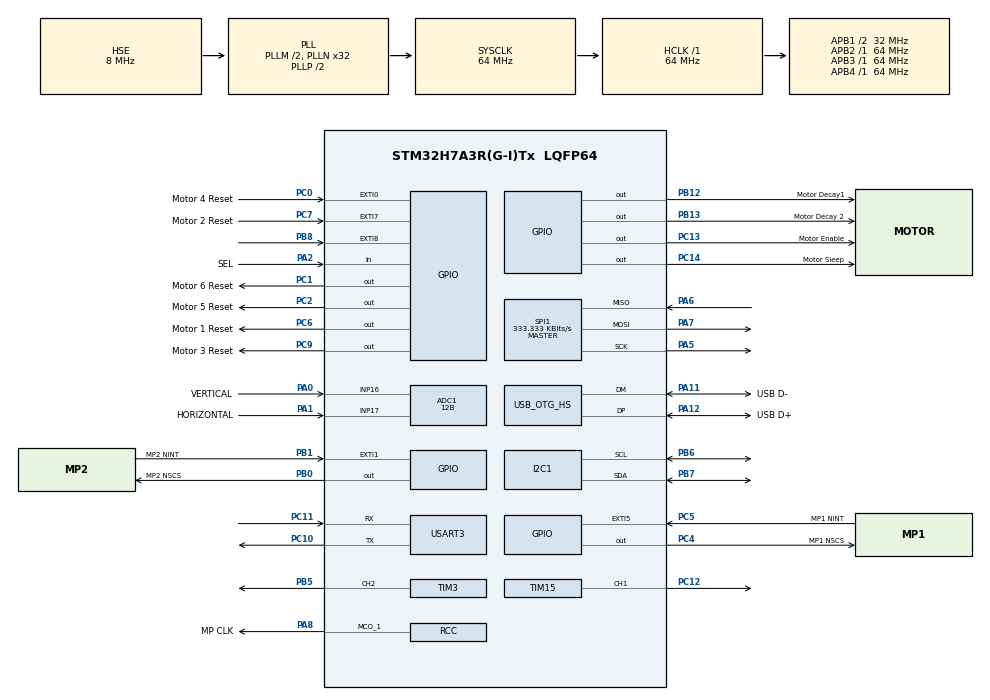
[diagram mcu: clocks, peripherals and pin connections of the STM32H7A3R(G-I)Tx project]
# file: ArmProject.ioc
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ADC1.Channel-0\#ChannelRegularConversion=ADC_CHANNEL_17
ADC1.ContinuousConvMode=DISABLE
ADC1.ConversionDataManagement=ADC_CONVERSIONDATA_DR
ADC1.DiscontinuousConvMode=DISABLE
ADC1.EOCSelection=ADC_EOC_SINGLE_CONV
ADC1.ExternalTrigConv=ADC_SOFTWARE_START
ADC1.NbrOfConversion=1
ADC1.NbrOfConversionFlag=1
ADC1.OffsetNumber-0\#ChannelRegularConversion=ADC_OFFSET_NONE
ADC1.OffsetSignedSaturation-0\#ChannelRegularConversion=DISABLE
ADC1.Rank-0\#ChannelRegularConversion=1
ADC1.Resolution=ADC_RESOLUTION_12B
ADC1.SamplingTime-0\#ChannelRegularConversion=ADC_SAMPLETIME_1CYCLE_5
ADC1.master=1
CORTEX_M7.default_mode_Activation=1
I2C1.Timing=0x00707CBB
Mcu.Family=STM32H7
Mcu.Name=STM32H7A3R(G-I)Tx
Mcu.Package=LQFP64
NVIC.ADC_IRQn=true\:0\:0\:false\:false\:true\:true\:true\:true
NVIC.EXTI9_5_IRQn=true\:0\:0\:false\:false\:true\:true\:true\:true
NVIC.PriorityGroup=NVIC_PRIORITYGROUP_4
PA0.GPIO_Label=VERTICAL
PA0.Mode=IN16-Single-Ended
PA0.Signal=ADC1_INP16
PA1.GPIO_Label=HORIZONTAL
PA1.Mode=IN17-Single-Ended
PA1.Signal=ADC1_INP17
PA11.GPIO_Label=USB D-
PA11.Mode=Device_Only_FS
PA11.Signal=USB_OTG_HS_DM
PA12.GPIO_Label=USB D+
PA12.Mode=Device_Only_FS
PA12.Signal=USB_OTG_HS_DP
PA13.Signal=DEBUG_JTMS-SWDIO
PA14.Signal=DEBUG_JTCK-SWCLK
PA2.GPIO_Label=SEL
PA2.Signal=GPIO_Input
PA5.Mode=Full_Duplex_Master
PA5.Signal=SPI1_SCK
PA6.Mode=Full_Duplex_Master
PA6.Signal=SPI1_MISO
PA7.Mode=Full_Duplex_Master
PA7.Signal=SPI1_MOSI
PA8.GPIO_Label=MP CLK
PA8.Mode=Clock-out-1
PA8.Signal=RCC_MCO_1
PB0.GPIO_Label=MP2 NSCS
PB0.PinState=GPIO_PIN_SET
PB0.Signal=GPIO_Output
PB1.GPIO_Label=MP2 NINT
PB1.Signal=GPXTI1
PB12.GPIO_Label=Motor Decay1
PB12.Signal=GPIO_Output
PB13.GPIO_Label=Motor Decay 2
PB13.Signal=GPIO_Output
PB3.Signal=DEBUG_JTDO-SWO
PB5.Signal=S_TIM3_CH2
PB6.Mode=I2C
PB6.Signal=I2C1_SCL
PB7.Mode=I2C
PB7.Signal=I2C1_SDA
PB8.Signal=GPXTI8
PC0.GPIO_Label=Motor 4 Reset
PC0.Signal=GPXTI0
PC1.GPIO_Label=Motor 6 Reset
PC1.Signal=GPIO_Output
PC10.Mode=Asynchronous
PC10.Signal=USART3_TX
PC11.Mode=Asynchronous
PC11.Signal=USART3_RX
PC12.Signal=S_TIM15_CH1
PC13.GPIO_Label=Motor Enable
PC13.Signal=GPIO_Output
PC14-OSC32_IN.GPIO_Label=Motor Sleep
PC14-OSC32_IN.Signal=GPIO_Output
PC2.GPIO_Label=Motor 5 Reset
PC2.Signal=GPIO_Output
PC4.GPIO_Label=MP1 NSCS
PC4.PinState=GPIO_PIN_SET
PC4.Signal=GPIO_Output
PC5.GPIO_Label=MP1 NINT
PC5.Signal=GPXTI5
PC6.GPIO_Label=Motor 1 Reset
PC6.Signal=GPIO_Output
PC7.GPIO_Label=Motor 2 Reset
PC7.Signal=GPXTI7
PC9.GPIO_Label=Motor 3 Reset
PC9.Signal=GPIO_Output
PH0-OSC_IN.Mode=HSE-External-Oscillator
PH0-OSC_IN.Signal=RCC_OSC_IN
PH1-OSC_OUT.Mode=HSE-External-Oscillator
PH1-OSC_OUT.Signal=RCC_OSC_OUT
ProjectManager.HeapSize=0x200
ProjectManager.StackSize=0x400
ProjectManager.TargetToolchain=CMake
RCC.ADCFreq_Value=43555664.0625
RCC.APB1Freq_Value=32000000
RCC.APB2Freq_Value=64000000
RCC.APB3Freq_Value=64000000
RCC.APB4Freq_Value=64000000
RCC.CDPPRE1=RCC_APB1_DIV2
RCC.CortexFreq_Value=64000000
RCC.DIVM1=2
RCC.DIVM2=2
RCC.DIVN1=32
RCC.DIVN2=32
RCC.DIVP2=3
RCC.DIVQ1=3
RCC.HCLKFreq_Value=64000000
RCC.HSE_VALUE=8000000
RCC.PLL2FRACN=5462
RCC.PLL3FRACN=0
RCC.PLLFRACN=0
RCC.RCC_MCO1Source=RCC_MCO1SOURCE_HSE
RCC.SYSCLKFreq_VALUE=64000000
RCC.SYSCLKSource=RCC_SYSCLKSOURCE_PLLCLK
RCC.USBFreq_Value=42666666.666666664
SH.S_TIM15_CH1.0=TIM15_CH1,PWM Generation1 CH1
SH.S_TIM3_CH2.0=TIM3_CH2,PWM Generation2 CH2
SPI1.BaudRatePrescaler=SPI_BAUDRATEPRESCALER_128
SPI1.CLKPhase=SPI_PHASE_2EDGE
SPI1.CLKPolarity=SPI_POLARITY_HIGH
SPI1.CalculateBaudRate=333.333 KBits/s
SPI1.DataSize=SPI_DATASIZE_8BIT
SPI1.Direction=SPI_DIRECTION_2LINES
SPI1.MasterKeepIOState=SPI_MASTER_KEEP_IO_STATE_ENABLE
SPI1.Mode=SPI_MODE_MASTER
SPI1.VirtualType=VM_MASTER
TIM15.Channel-PWM\ Generation1\ CH1=TIM_CHANNEL_1
TIM15.Period=19999
TIM15.Prescaler=63
TIM15.Pulse-PWM\ Generation1\ CH1=0
TIM3.Channel-PWM\ Generation2\ CH2=TIM_CHANNEL_2
TIM3.Period=19999
TIM3.Prescaler=63
TIM8.Period=9999
TIM8.Prescaler=6399
TIM8.TIM_MasterOutputTrigger=TIM_TRGO_UPDATE
USART3.VirtualMode-Asynchronous=VM_ASYNC
USB_OTG_HS.VirtualMode=Device_Only_FS
VP_MEMORYMAP_VS_MEMORYMAP.Mode=CurAppReg
VP_TIM3_VS_ClockSourceINT.Mode=Internal
VP_TIM8_VS_ClockSourceINT.Mode=Internal
board=custom

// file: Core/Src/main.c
/* USER CODE BEGIN Header */
/**
  ******************************************************************************
  * @file           : main.c
  * @brief          : Main program body
  ******************************************************************************
  * @attention
  *
  * Copyright (c) 2026 STMicroelectronics.
  * All rights reserved.
  *
  * This software is licensed under terms that can be found in the LICENSE file
  * in the root directory of this software component.
  * If no LICENSE file comes with this software, it is provided AS-IS.
  *
  ******************************************************************************
  */
/* USER CODE END Header */
#include "main.h"

/* USER CODE BEGIN Includes */
#include "TMC429.h"
#include "TMC429_Register.h"
#include "stepper_driver.h"
#include "driver_tcs34725.h"
#include "color_sensor.h"
#include "servo.h"
#include "joystick.h"
#include "motion.h"
#include <string.h>
#include <stdio.h>
#include "fsm.h"
#include "maneuvers.h"
/* USER CODE END Includes */

/* USER CODE BEGIN PTD */
typedef struct {
  int test1;
  int test2;
  int test3;
} testtype;

testtype testvar;

/* USER CODE END PTD */

/* USER CODE BEGIN PD */
#define MICROSTEPS 32 //number of microsteps per step. this is set by jumpers on the board.

/* USER CODE END PD */

ADC_HandleTypeDef hadc1;

I2C_HandleTypeDef hi2c1;

SPI_HandleTypeDef hspi1;

TIM_HandleTypeDef htim3;
TIM_HandleTypeDef htim8;
TIM_HandleTypeDef htim15;

UART_HandleTypeDef huart3;

PCD_HandleTypeDef hpcd_USB_OTG_HS;

/* USER CODE BEGIN PV */
static MotionIC_Config_t motionICs[2] =
{
    { &hspi1, MP1_NSCS_GPIO_Port, MP1_NSCS_Pin },
    { &hspi1, MP2_NSCS_GPIO_Port, MP2_NSCS_Pin }
};

//Set-up stepper driver config. This is used by the stepper driver library to know which pins to use for each function
static StepperDriverConfig_t stepperConfig =
{
    .sleepPort = Motor_Sleep_GPIO_Port,
    .sleepPin  = Motor_Sleep_Pin,

    .enablePort = Motor_Enable_GPIO_Port,
    .enablePin  = Motor_Enable_Pin,

    .decay1Port = Motor_Decay1_GPIO_Port,
    .decay1Pin  = Motor_Decay1_Pin,

    .decay2Port = Motor_Decay_2_GPIO_Port,
    .decay2Pin  = Motor_Decay_2_Pin,

    .drivers =
    {
        { Motor_1_Reset_GPIO_Port, Motor_1_Reset_Pin },
        { Motor_2_Reset_GPIO_Port, Motor_2_Reset_Pin },
        { Motor_3_Reset_GPIO_Port, Motor_3_Reset_Pin },
        { Motor_4_Reset_GPIO_Port, Motor_4_Reset_Pin }
    }
};

//Set-up configuration for each motor. This is used by the motion library to know which TMC429 chip and which axis of that chip each motor is connected to, as well as the conversion factor for that motor which is used to convert between radians and steps.
motor_config_t motorConfigs[4] =
{
    { .motionIC = MOTION_IC_1, .MotionIC_motorNum = 0 },
    { .motionIC = MOTION_IC_1, .MotionIC_motorNum = 1 },
    { .motionIC = MOTION_IC_1, .MotionIC_motorNum = 2 },
    { .motionIC = MOTION_IC_2, .MotionIC_motorNum = 0 }
};

tcs34725_handle_t sensor_handle = {
    .iic_init    = my_i2c_init,
    .iic_deinit  = my_i2c_deinit,
    .iic_read    = my_i2c_read,
    .iic_write   = my_i2c_write,
    .delay_ms    = my_delay_ms,
    .debug_print = my_debug_print,
};

/* USER CODE END PV */

void SystemClock_Config(void);
static void MPU_Config(void);
static void MX_GPIO_Init(void);
static void MX_SPI1_Init(void);
static void MX_USB_OTG_HS_PCD_Init(void);
static void MX_I2C1_Init(void);
static void MX_TIM3_Init(void);
static void MX_TIM15_Init(void);
static void MX_USART3_UART_Init(void);
static void MX_ADC1_Init(void);
static void MX_TIM8_Init(void);

int main(void)
{

  /* MPU Configuration--------------------------------------------------------*/
  MPU_Config();

  /* MCU Configuration--------------------------------------------------------*/

  /* Reset of all peripherals, Initializes the Flash interface and the Systick. */
  HAL_Init();

  /* Configure the system clock */
  SystemClock_Config();

  /* Initialize all configured peripherals */
  MX_GPIO_Init();
  MX_SPI1_Init();
  MX_USB_OTG_HS_PCD_Init();
  MX_I2C1_Init();
  MX_TIM3_Init();
  MX_TIM15_Init();
  MX_USART3_UART_Init();
  MX_ADC1_Init();
  MX_TIM8_Init();
  /* USER CODE BEGIN 2 */
  Joystick_Init();
  while (!Joystick_ReadButton()) {
    __NOP();
  }

  //Joystick_Init();
  FSM_Init();
  //Init the TMC429 chips. Initializer function sets these in setp/dir mode, which is what we want.
  TMC429_SetMotionICs(motionICs);

  SelectMotionIC(MOTION_IC_1);
  Init429();

  SelectMotionIC(MOTION_IC_2);
  Init429();

  //Limit max acceleration on motor 1
  SelectMotionIC(motorConfigs[0].motionIC);
  SetAMax(motorConfigs[0].MotionIC_motorNum, 50);

  //Init stepper drivers. Sets sleep and enable pins to the proper levels and resets all drivers.
  StepperDriver_Init(&stepperConfig);

  StepperDriver_ResetAll();
  StepperDriver_SetDecay(GPIO_PIN_RESET, GPIO_PIN_RESET);

  StepperDriver_Wake();
  StepperDriver_Enable();

  /* Compute motor conversion parameters based on microstepping, gearbox ratio and steps per revolution */
  //store in motor configuration struct so we can use it later for motion planning
  compute_motor_params(Motor1, MICROSTEPS, 5, 200);
  compute_motor_params(Motor2, MICROSTEPS, 10, 200);
  compute_motor_params(Motor3, MICROSTEPS, 5, 200);
  compute_motor_params(Motor4, MICROSTEPS, 1, 200);

  //Set max accelerations
  set_max_accel(Motor1, 1); //Set max acceleration for motor 1
  set_max_accel(Motor2, 1); //Set max acceleration for motor 2
  set_max_accel(Motor3, 1); //Set max acceleration for motor 3
  set_max_accel(Motor4, 1); //Set max acceleration for motor 4

  char rx[5]; //Init spi rx buff
  int char_count; //Variable to store number of characters in uart send buff
  double pos; //Variable to store current position of motor for printing over uart
  char sendbuff[100]; //Init uart send buff
  memset(sendbuff, 0, sizeof(sendbuff)); //Clear uart send buff
  uint8_t readReg[4] = {
        0x00,
        0x00,
        0x00,
        0x00
    };

  tcs34725_init(&sensor_handle);
  COLOR_SENSOR_Init(&sensor_handle);
  uint32_t adc;

  Servo_Init();
  Servo_Open();

  double m2pos = 0;
  //Servo_Init();
  //Servo_Open();
  uint16_t servo_pulse = 0;
  HAL_Delay(2000);
  while (!Joystick_ReadButton()) {
    __NOP();
  }
  /* USER CODE END 2 */

  /* Infinite loop */
  /* USER CODE BEGIN WHILE */
  while (1)
  {

    //servo test
    //HAL_Delay(1000);
    //Servo_Close();

    //HAL_GPIO_WritePin(MP1_NSCS_GPIO_Port, MP1_NSCS_Pin, GPIO_PIN_RESET); //Set CS line low to select chip
    //HAL_SPI_TransmitReceive(&hspi1, (uint8_t *)readReg, (uint8_t *)rx, 4, HAL_MAX_DELAY); //send/recieve data
    //sprintf(sendbuff, "TMC429 Response:%b%b%br\n", rx[1], rx[2], rx[3]); //Format received data into string
    //HAL_UART_Transmit(&huart3, (uint8_t *)sendbuff, strlen(sendbuff), HAL_MAX_DELAY);
    //HAL_GPIO_WritePin(MP1_NSCS_GPIO_Port, MP1_NSCS_Pin, GPIO_PIN_SET); //Set CS line high to deselect chip

    //Move Motor 1 90 degrees as a test
    //SelectMotionIC(motorConfigs[0].motionIC); //Select the correct TMC429 chip
    //uint32_t steps = 10000;
    //Write429Datagram(TMC429_IDX_XTARGET(motorConfigs[0].MotionIC_motorNum), (steps >> 16) & 0xFF, (steps >> 8) & 0xFF, steps & 0xFF); //Write the target position to the TMC429
    //SelectMotionIC(MOTION_IC_1);
    //zero_motors(motorConfigs, 4); //Set current position of all motors to be the zero position
    //execute_trajectory(motorConfigs, &test_trajectory1);
    //HAL_Delay(1000);
    //move_to_pos(Motor2, M_PI / 4); //Move to 90 degrees
    //m2pos = get_current_pos(Motor2);
    //move_to_pos(Motor3, M_PI / 4); //Move to 90 degrees
    //HAL_Delay(3000);
    //move_to_pos(Motor2, -M_PI / 4); //Move to 90 degrees
    //move_to_pos(Motor3, -M_PI / 4); //Move to 90 degrees
    //HAL_Delay(3000);

    //move_to_pos(&motorConfigs[0], M_PI / 2); //Move to 90 degrees
    //confirm move command was sent and print current position over uart
    /*
    char_count = sprintf(sendbuff, "Sent motor 1 command - 90 degrees\r\n");
    HAL_UART_Transmit(&huart3, (uint8_t *)sendbuff, char_count, HAL_MAX_DELAY);
    pos = get_current_pos(Motor1);
    char_count = sprintf(sendbuff, "Motor 1 position: %f\r\n", pos);
    HAL_UART_Transmit(&huart3, (uint8_t *)sendbuff, char_count, HAL_MAX_DELAY);
    HAL_Delay(2000);
    move_to_pos(&motorConfigs[0], 0.0);
    char_count = sprintf(sendbuff, "Sent motor 1 command - 0 degrees\r\n");
    HAL_UART_Transmit(&huart3, (uint8_t *)sendbuff, char_count, HAL_MAX_DELAY);
    pos = get_current_pos(&motorConfigs[0]);
    char_count = sprintf(sendbuff, "Motor 1 position: %f\r\n", pos);
    HAL_UART_Transmit(&huart3, (uint8_t *)sendbuff, char_count, HAL_MAX_DELAY);
    HAL_Delay(2000);
    */

    //HAL_Delay(500);
    /* Joystick_Read();
    char dbg[64];
    int len = sprintf(dbg, "X: %u  Y: %u  BTN: %d\r\n ISR: %081X\r\n", Joystick_ReadX(), Joystick_ReadY(), Joystick_ReadButton(), ADC1->ISR);
    HAL_UART_Transmit(&huart3, (uint8_t *)dbg, len, HAL_MAX_DELAY); */

    /* Joystick_Read();

    int len = sprintf(sendbuff,
                      "X: %u  Y: %u  BTN: %d\r\n",
                      Joystick_ReadX(),
                      Joystick_ReadY(),
                      Joystick_ReadButton());

    HAL_UART_Transmit(&huart3, (uint8_t *)sendbuff, len, HAL_MAX_DELAY);

    HAL_Delay(100); */

    //char_count = sprintf(sendbuff, "Sent motor 1 command - 90 degrees\r\n");
    //HAL_UART_Transmit(&huart3, (uint8_t *)sendbuff, char_count, HAL_MAX_DELAY);
    //pos = get_current_pos(&motorConfigs[0]);
    //char_count = sprintf(sendbuff, "Motor 1 position: %f\r\n", pos);
    //HAL_UART_Transmit(&huart3, (uint8_t *)sendbuff, char_count, HAL_MAX_DELAY);
    //HAL_Delay(2000);
    //move_to_pos(&motorConfigs[0], 0.0);
    //char_count = sprintf(sendbuff, "Sent motor 1 command - 0 degrees\r\n");
    //HAL_UART_Transmit(&huart3, (uint8_t *)sendbuff, char_count, HAL_MAX_DELAY);
    //pos = get_current_pos(&motorConfigs[0]);
    //char_count = sprintf(sendbuff, "Motor 1 position: %f\r\n", pos);
    //HAL_UART_Transmit(&huart3, (uint8_t *)sendbuff, char_count, HAL_MAX_DELAY);
    //HAL_Delay(2000);
    COLOR_SENSOR_Read(&sensor_handle);
    FSM_Update();

    /* USER CODE END WHILE */

    /* USER CODE BEGIN 3 */
  //FSM_Update();
  }
  /* USER CODE END 3 */
}

void SystemClock_Config(void)
{
  RCC_OscInitTypeDef RCC_OscInitStruct = {0};
  RCC_ClkInitTypeDef RCC_ClkInitStruct = {0};

  /*AXI clock gating */
  RCC->CKGAENR = 0xE003FFFF;

  /** Supply configuration update enable
  */
  HAL_PWREx_ConfigSupply(PWR_LDO_SUPPLY);

  /** Configure the main internal regulator output voltage
  */
  __HAL_PWR_VOLTAGESCALING_CONFIG(PWR_REGULATOR_VOLTAGE_SCALE3);

  while(!__HAL_PWR_GET_FLAG(PWR_FLAG_VOSRDY)) {}

  /** Initializes the RCC Oscillators according to the specified parameters
  * in the RCC_OscInitTypeDef structure.
  */
  RCC_OscInitStruct.OscillatorType = RCC_OSCILLATORTYPE_HSE;
  RCC_OscInitStruct.HSEState = RCC_HSE_ON;
  RCC_OscInitStruct.PLL.PLLState = RCC_PLL_ON;
  RCC_OscInitStruct.PLL.PLLSource = RCC_PLLSOURCE_HSE;
  RCC_OscInitStruct.PLL.PLLM = 2;
  RCC_OscInitStruct.PLL.PLLN = 32;
  RCC_OscInitStruct.PLL.PLLP = 2;
  RCC_OscInitStruct.PLL.PLLQ = 3;
  RCC_OscInitStruct.PLL.PLLR = 2;
  RCC_OscInitStruct.PLL.PLLRGE = RCC_PLL1VCIRANGE_2;
  RCC_OscInitStruct.PLL.PLLVCOSEL = RCC_PLL1VCOWIDE;
  RCC_OscInitStruct.PLL.PLLFRACN = 0;
  if (HAL_RCC_OscConfig(&RCC_OscInitStruct) != HAL_OK)
  {
    Error_Handler();
  }

  /** Initializes the CPU, AHB and APB buses clocks
  */
  RCC_ClkInitStruct.ClockType = RCC_CLOCKTYPE_HCLK|RCC_CLOCKTYPE_SYSCLK
                              |RCC_CLOCKTYPE_PCLK1|RCC_CLOCKTYPE_PCLK2
                              |RCC_CLOCKTYPE_D3PCLK1|RCC_CLOCKTYPE_D1PCLK1;
  RCC_ClkInitStruct.SYSCLKSource = RCC_SYSCLKSOURCE_PLLCLK;
  RCC_ClkInitStruct.SYSCLKDivider = RCC_SYSCLK_DIV1;
  RCC_ClkInitStruct.AHBCLKDivider = RCC_HCLK_DIV1;
  RCC_ClkInitStruct.APB3CLKDivider = RCC_APB3_DIV1;
  RCC_ClkInitStruct.APB1CLKDivider = RCC_APB1_DIV2;
  RCC_ClkInitStruct.APB2CLKDivider = RCC_APB2_DIV1;
  RCC_ClkInitStruct.APB4CLKDivider = RCC_APB4_DIV1;

  if (HAL_RCC_ClockConfig(&RCC_ClkInitStruct, FLASH_LATENCY_2) != HAL_OK)
  {
    Error_Handler();
  }
  HAL_RCC_MCOConfig(RCC_MCO1, RCC_MCO1SOURCE_HSE, RCC_MCODIV_1);
}

static void MX_ADC1_Init(void)
{

  ADC_MultiModeTypeDef multimode = {0};
  ADC_ChannelConfTypeDef sConfig = {0};

  /** Common config
  */
  hadc1.Instance = ADC1;
  hadc1.Init.ClockPrescaler = ADC_CLOCK_ASYNC_DIV1;
  hadc1.Init.Resolution = ADC_RESOLUTION_12B;
  hadc1.Init.ScanConvMode = ADC_SCAN_DISABLE;
  hadc1.Init.EOCSelection = ADC_EOC_SINGLE_CONV;
  hadc1.Init.LowPowerAutoWait = DISABLE;
  hadc1.Init.ContinuousConvMode = DISABLE;
  hadc1.Init.NbrOfConversion = 1;
  hadc1.Init.DiscontinuousConvMode = DISABLE;
  hadc1.Init.ExternalTrigConv = ADC_SOFTWARE_START;
  hadc1.Init.ExternalTrigConvEdge = ADC_EXTERNALTRIGCONVEDGE_NONE;
  hadc1.Init.ConversionDataManagement = ADC_CONVERSIONDATA_DR;
  hadc1.Init.Overrun = ADC_OVR_DATA_PRESERVED;
  hadc1.Init.LeftBitShift = ADC_LEFTBITSHIFT_NONE;
  hadc1.Init.OversamplingMode = DISABLE;
  if (HAL_ADC_Init(&hadc1) != HAL_OK)
  {
    Error_Handler();
  }

  /** Configure the ADC multi-mode
  */
  multimode.Mode = ADC_MODE_INDEPENDENT;
  if (HAL_ADCEx_MultiModeConfigChannel(&hadc1, &multimode) != HAL_OK)
  {
    Error_Handler();
  }

  /** Configure Regular Channel
  */
  sConfig.Channel = ADC_CHANNEL_17;
  sConfig.Rank = ADC_REGULAR_RANK_1;
  sConfig.SamplingTime = ADC_SAMPLETIME_1CYCLE_5;
  sConfig.SingleDiff = ADC_SINGLE_ENDED;
  sConfig.OffsetNumber = ADC_OFFSET_NONE;
  sConfig.Offset = 0;
  sConfig.OffsetSignedSaturation = DISABLE;
  if (HAL_ADC_ConfigChannel(&hadc1, &sConfig) != HAL_OK)
  {
    Error_Handler();
  }

}

static void MX_I2C1_Init(void)
{

  hi2c1.Instance = I2C1;
  hi2c1.Init.Timing = 0x00707CBB;
  hi2c1.Init.OwnAddress1 = 0;
  hi2c1.Init.AddressingMode = I2C_ADDRESSINGMODE_7BIT;
  hi2c1.Init.DualAddressMode = I2C_DUALADDRESS_DISABLE;
  hi2c1.Init.OwnAddress2 = 0;
  hi2c1.Init.OwnAddress2Masks = I2C_OA2_NOMASK;
  hi2c1.Init.GeneralCallMode = I2C_GENERALCALL_DISABLE;
  hi2c1.Init.NoStretchMode = I2C_NOSTRETCH_DISABLE;
  if (HAL_I2C_Init(&hi2c1) != HAL_OK)
  {
    Error_Handler();
  }

  /** Configure Analogue filter
  */
  if (HAL_I2CEx_ConfigAnalogFilter(&hi2c1, I2C_ANALOGFILTER_ENABLE) != HAL_OK)
  {
    Error_Handler();
  }

  /** Configure Digital filter
  */
  if (HAL_I2CEx_ConfigDigitalFilter(&hi2c1, 0) != HAL_OK)
  {
    Error_Handler();
  }

}

static void MX_SPI1_Init(void)
{

  /* SPI1 parameter configuration*/
  hspi1.Instance = SPI1;
  hspi1.Init.Mode = SPI_MODE_MASTER;
  hspi1.Init.Direction = SPI_DIRECTION_2LINES;
  hspi1.Init.DataSize = SPI_DATASIZE_8BIT;
  hspi1.Init.CLKPolarity = SPI_POLARITY_HIGH;
  hspi1.Init.CLKPhase = SPI_PHASE_2EDGE;
  hspi1.Init.NSS = SPI_NSS_SOFT;
  hspi1.Init.BaudRatePrescaler = SPI_BAUDRATEPRESCALER_128;
  hspi1.Init.FirstBit = SPI_FIRSTBIT_MSB;
  hspi1.Init.TIMode = SPI_TIMODE_DISABLE;
  hspi1.Init.CRCCalculation = SPI_CRCCALCULATION_DISABLE;
  hspi1.Init.CRCPolynomial = 0x0;
  hspi1.Init.NSSPMode = SPI_NSS_PULSE_ENABLE;
  hspi1.Init.NSSPolarity = SPI_NSS_POLARITY_LOW;
  hspi1.Init.FifoThreshold = SPI_FIFO_THRESHOLD_01DATA;
  hspi1.Init.TxCRCInitializationPattern = SPI_CRC_INITIALIZATION_ALL_ZERO_PATTERN;
  hspi1.Init.RxCRCInitializationPattern = SPI_CRC_INITIALIZATION_ALL_ZERO_PATTERN;
  hspi1.Init.MasterSSIdleness = SPI_MASTER_SS_IDLENESS_00CYCLE;
  hspi1.Init.MasterInterDataIdleness = SPI_MASTER_INTERDATA_IDLENESS_00CYCLE;
  hspi1.Init.MasterReceiverAutoSusp = SPI_MASTER_RX_AUTOSUSP_DISABLE;
  hspi1.Init.MasterKeepIOState = SPI_MASTER_KEEP_IO_STATE_ENABLE;
  hspi1.Init.IOSwap = SPI_IO_SWAP_DISABLE;
  if (HAL_SPI_Init(&hspi1) != HAL_OK)
  {
    Error_Handler();
  }

}

static void MX_TIM3_Init(void)
{

  TIM_ClockConfigTypeDef sClockSourceConfig = {0};
  TIM_MasterConfigTypeDef sMasterConfig = {0};
  TIM_OC_InitTypeDef sConfigOC = {0};

  htim3.Instance = TIM3;
  htim3.Init.Prescaler = 63;
  htim3.Init.CounterMode = TIM_COUNTERMODE_UP;
  htim3.Init.Period = 19999;
  htim3.Init.ClockDivision = TIM_CLOCKDIVISION_DIV1;
  htim3.Init.AutoReloadPreload = TIM_AUTORELOAD_PRELOAD_DISABLE;
  if (HAL_TIM_Base_Init(&htim3) != HAL_OK)
  {
    Error_Handler();
  }
  sClockSourceConfig.ClockSource = TIM_CLOCKSOURCE_INTERNAL;
  if (HAL_TIM_ConfigClockSource(&htim3, &sClockSourceConfig) != HAL_OK)
  {
    Error_Handler();
  }
  if (HAL_TIM_PWM_Init(&htim3) != HAL_OK)
  {
    Error_Handler();
  }
  sMasterConfig.MasterOutputTrigger = TIM_TRGO_RESET;
  sMasterConfig.MasterSlaveMode = TIM_MASTERSLAVEMODE_DISABLE;
  if (HAL_TIMEx_MasterConfigSynchronization(&htim3, &sMasterConfig) != HAL_OK)
  {
    Error_Handler();
  }
  sConfigOC.OCMode = TIM_OCMODE_PWM1;
  sConfigOC.Pulse = 0;
  sConfigOC.OCPolarity = TIM_OCPOLARITY_HIGH;
  sConfigOC.OCFastMode = TIM_OCFAST_DISABLE;
  if (HAL_TIM_PWM_ConfigChannel(&htim3, &sConfigOC, TIM_CHANNEL_2) != HAL_OK)
  {
    Error_Handler();
  }
  HAL_TIM_MspPostInit(&htim3);

}

static void MX_TIM8_Init(void)
{

  TIM_ClockConfigTypeDef sClockSourceConfig = {0};
  TIM_MasterConfigTypeDef sMasterConfig = {0};

  htim8.Instance = TIM8;
  htim8.Init.Prescaler = 6399;
  htim8.Init.CounterMode = TIM_COUNTERMODE_UP;
  htim8.Init.Period = 9999;
  htim8.Init.ClockDivision = TIM_CLOCKDIVISION_DIV1;
  htim8.Init.RepetitionCounter = 0;
  htim8.Init.AutoReloadPreload = TIM_AUTORELOAD_PRELOAD_DISABLE;
  if (HAL_TIM_Base_Init(&htim8) != HAL_OK)
  {
    Error_Handler();
  }
  sClockSourceConfig.ClockSource = TIM_CLOCKSOURCE_INTERNAL;
  if (HAL_TIM_ConfigClockSource(&htim8, &sClockSourceConfig) != HAL_OK)
  {
    Error_Handler();
  }
  sMasterConfig.MasterOutputTrigger = TIM_TRGO_UPDATE;
  sMasterConfig.MasterOutputTrigger2 = TIM_TRGO2_RESET;
  sMasterConfig.MasterSlaveMode = TIM_MASTERSLAVEMODE_DISABLE;
  if (HAL_TIMEx_MasterConfigSynchronization(&htim8, &sMasterConfig) != HAL_OK)
  {
    Error_Handler();
  }

}

static void MX_TIM15_Init(void)
{

  TIM_MasterConfigTypeDef sMasterConfig = {0};
  TIM_OC_InitTypeDef sConfigOC = {0};
  TIM_BreakDeadTimeConfigTypeDef sBreakDeadTimeConfig = {0};

  htim15.Instance = TIM15;
  htim15.Init.Prescaler = 63;
  htim15.Init.CounterMode = TIM_COUNTERMODE_UP;
  htim15.Init.Period = 19999;
  htim15.Init.ClockDivision = TIM_CLOCKDIVISION_DIV1;
  htim15.Init.RepetitionCounter = 0;
  htim15.Init.AutoReloadPreload = TIM_AUTORELOAD_PRELOAD_DISABLE;
  if (HAL_TIM_PWM_Init(&htim15) != HAL_OK)
  {
    Error_Handler();
  }
  sMasterConfig.MasterOutputTrigger = TIM_TRGO_RESET;
  sMasterConfig.MasterSlaveMode = TIM_MASTERSLAVEMODE_DISABLE;
  if (HAL_TIMEx_MasterConfigSynchronization(&htim15, &sMasterConfig) != HAL_OK)
  {
    Error_Handler();
  }
  sConfigOC.OCMode = TIM_OCMODE_PWM1;
  sConfigOC.Pulse = 0;
  sConfigOC.OCPolarity = TIM_OCPOLARITY_HIGH;
  sConfigOC.OCNPolarity = TIM_OCNPOLARITY_HIGH;
  sConfigOC.OCFastMode = TIM_OCFAST_DISABLE;
  sConfigOC.OCIdleState = TIM_OCIDLESTATE_RESET;
  sConfigOC.OCNIdleState = TIM_OCNIDLESTATE_RESET;
  if (HAL_TIM_PWM_ConfigChannel(&htim15, &sConfigOC, TIM_CHANNEL_1) != HAL_OK)
  {
    Error_Handler();
  }
  sBreakDeadTimeConfig.OffStateRunMode = TIM_OSSR_DISABLE;
  sBreakDeadTimeConfig.OffStateIDLEMode = TIM_OSSI_DISABLE;
  sBreakDeadTimeConfig.LockLevel = TIM_LOCKLEVEL_OFF;
  sBreakDeadTimeConfig.DeadTime = 0;
  sBreakDeadTimeConfig.BreakState = TIM_BREAK_DISABLE;
  sBreakDeadTimeConfig.BreakPolarity = TIM_BREAKPOLARITY_HIGH;
  sBreakDeadTimeConfig.BreakFilter = 0;
  sBreakDeadTimeConfig.AutomaticOutput = TIM_AUTOMATICOUTPUT_DISABLE;
  if (HAL_TIMEx_ConfigBreakDeadTime(&htim15, &sBreakDeadTimeConfig) != HAL_OK)
  {
    Error_Handler();
  }
  HAL_TIM_MspPostInit(&htim15);

}

static void MX_USART3_UART_Init(void)
{

  huart3.Instance = USART3;
  huart3.Init.BaudRate = 115200;
  huart3.Init.WordLength = UART_WORDLENGTH_8B;
  huart3.Init.StopBits = UART_STOPBITS_1;
  huart3.Init.Parity = UART_PARITY_NONE;
  huart3.Init.Mode = UART_MODE_TX_RX;
  huart3.Init.HwFlowCtl = UART_HWCONTROL_NONE;
  huart3.Init.OverSampling = UART_OVERSAMPLING_16;
  huart3.Init.OneBitSampling = UART_ONE_BIT_SAMPLE_DISABLE;
  huart3.Init.ClockPrescaler = UART_PRESCALER_DIV1;
  huart3.AdvancedInit.AdvFeatureInit = UART_ADVFEATURE_NO_INIT;
  if (HAL_UART_Init(&huart3) != HAL_OK)
  {
    Error_Handler();
  }
  if (HAL_UARTEx_SetTxFifoThreshold(&huart3, UART_TXFIFO_THRESHOLD_1_8) != HAL_OK)
  {
    Error_Handler();
  }
  if (HAL_UARTEx_SetRxFifoThreshold(&huart3, UART_RXFIFO_THRESHOLD_1_8) != HAL_OK)
  {
    Error_Handler();
  }
  if (HAL_UARTEx_DisableFifoMode(&huart3) != HAL_OK)
  {
    Error_Handler();
  }

}

static void MX_USB_OTG_HS_PCD_Init(void)
{

  hpcd_USB_OTG_HS.Instance = USB_OTG_HS;
  hpcd_USB_OTG_HS.Init.dev_endpoints = 9;
  hpcd_USB_OTG_HS.Init.speed = PCD_SPEED_FULL;
  hpcd_USB_OTG_HS.Init.dma_enable = DISABLE;
  hpcd_USB_OTG_HS.Init.phy_itface = USB_OTG_EMBEDDED_PHY;
  hpcd_USB_OTG_HS.Init.Sof_enable = DISABLE;
  hpcd_USB_OTG_HS.Init.low_power_enable = DISABLE;
  hpcd_USB_OTG_HS.Init.lpm_enable = DISABLE;
  hpcd_USB_OTG_HS.Init.vbus_sensing_enable = DISABLE;
  hpcd_USB_OTG_HS.Init.use_dedicated_ep1 = DISABLE;
  hpcd_USB_OTG_HS.Init.use_external_vbus = DISABLE;
  if (HAL_PCD_Init(&hpcd_USB_OTG_HS) != HAL_OK)
  {
    Error_Handler();
  }

}

static void MX_GPIO_Init(void)
{
  GPIO_InitTypeDef GPIO_InitStruct = {0};

  /* GPIO Ports Clock Enable */
  __HAL_RCC_GPIOC_CLK_ENABLE();
  __HAL_RCC_GPIOH_CLK_ENABLE();
  __HAL_RCC_GPIOA_CLK_ENABLE();
  __HAL_RCC_GPIOB_CLK_ENABLE();

  /*Configure GPIO pin Output Level */
  HAL_GPIO_WritePin(GPIOC, Motor_Enable_Pin|Motor_Sleep_Pin|Motor_6_Reset_Pin|Motor_5_Reset_Pin
                          |Motor_1_Reset_Pin|Motor_3_Reset_Pin, GPIO_PIN_RESET);

  /*Configure GPIO pin Output Level */
  HAL_GPIO_WritePin(MP1_NSCS_GPIO_Port, MP1_NSCS_Pin, GPIO_PIN_SET);

  /*Configure GPIO pin Output Level */
  HAL_GPIO_WritePin(MP2_NSCS_GPIO_Port, MP2_NSCS_Pin, GPIO_PIN_SET);

  /*Configure GPIO pin Output Level */
  HAL_GPIO_WritePin(GPIOB, Motor_Decay1_Pin|Motor_Decay_2_Pin, GPIO_PIN_RESET);

  /*Configure GPIO pins : Motor_Enable_Pin Motor_Sleep_Pin Motor_6_Reset_Pin Motor_5_Reset_Pin
                           MP1_NSCS_Pin Motor_1_Reset_Pin Motor_3_Reset_Pin */
  GPIO_InitStruct.Pin = Motor_Enable_Pin|Motor_Sleep_Pin|Motor_6_Reset_Pin|Motor_5_Reset_Pin
                          |MP1_NSCS_Pin|Motor_1_Reset_Pin|Motor_3_Reset_Pin;
  GPIO_InitStruct.Mode = GPIO_MODE_OUTPUT_PP;
  GPIO_InitStruct.Pull = GPIO_NOPULL;
  GPIO_InitStruct.Speed = GPIO_SPEED_FREQ_LOW;
  HAL_GPIO_Init(GPIOC, &GPIO_InitStruct);

  /*Configure GPIO pins : Motor_4_Reset_Pin MP1_NINT_Pin Motor_2_Reset_Pin */
  GPIO_InitStruct.Pin = Motor_4_Reset_Pin|MP1_NINT_Pin|Motor_2_Reset_Pin;
  GPIO_InitStruct.Mode = GPIO_MODE_IT_RISING;
  GPIO_InitStruct.Pull = GPIO_NOPULL;
  HAL_GPIO_Init(GPIOC, &GPIO_InitStruct);

  /*Configure GPIO pin : SEL_Pin */
  GPIO_InitStruct.Pin = SEL_Pin;
  GPIO_InitStruct.Mode = GPIO_MODE_INPUT;
  GPIO_InitStruct.Pull = GPIO_NOPULL;
  HAL_GPIO_Init(SEL_GPIO_Port, &GPIO_InitStruct);

  /*Configure GPIO pins : MP2_NSCS_Pin Motor_Decay1_Pin Motor_Decay_2_Pin */
  GPIO_InitStruct.Pin = MP2_NSCS_Pin|Motor_Decay1_Pin|Motor_Decay_2_Pin;
  GPIO_InitStruct.Mode = GPIO_MODE_OUTPUT_PP;
  GPIO_InitStruct.Pull = GPIO_NOPULL;
  GPIO_InitStruct.Speed = GPIO_SPEED_FREQ_LOW;
  HAL_GPIO_Init(GPIOB, &GPIO_InitStruct);

  /*Configure GPIO pins : MP2_NINT_Pin PB8 */
  GPIO_InitStruct.Pin = MP2_NINT_Pin|GPIO_PIN_8;
  GPIO_InitStruct.Mode = GPIO_MODE_IT_RISING;
  GPIO_InitStruct.Pull = GPIO_NOPULL;
  HAL_GPIO_Init(GPIOB, &GPIO_InitStruct);

  /*Configure GPIO pin : MP_CLK_Pin */
  GPIO_InitStruct.Pin = MP_CLK_Pin;
  GPIO_InitStruct.Mode = GPIO_MODE_AF_PP;
  GPIO_InitStruct.Pull = GPIO_NOPULL;
  GPIO_InitStruct.Speed = GPIO_SPEED_FREQ_LOW;
  GPIO_InitStruct.Alternate = GPIO_AF0_MCO;
  HAL_GPIO_Init(MP_CLK_GPIO_Port, &GPIO_InitStruct);

  /*AnalogSwitch Config */
  HAL_SYSCFG_AnalogSwitchConfig(SYSCFG_SWITCH_PC2, SYSCFG_SWITCH_PC2_CLOSE);

  /* EXTI interrupt init*/
  HAL_NVIC_SetPriority(MP1_NINT_EXTI_IRQn, 0, 0);
  HAL_NVIC_EnableIRQ(MP1_NINT_EXTI_IRQn);

}

 /* MPU Configuration */

void MPU_Config(void)
{
  MPU_Region_InitTypeDef MPU_InitStruct = {0};

  /* Disables the MPU */
  HAL_MPU_Disable();

  /** Initializes and configures the Region and the memory to be protected
  */
  MPU_InitStruct.Enable = MPU_REGION_ENABLE;
  MPU_InitStruct.Number = MPU_REGION_NUMBER0;
  MPU_InitStruct.BaseAddress = 0x0;
  MPU_InitStruct.Size = MPU_REGION_SIZE_4GB;
  MPU_InitStruct.SubRegionDisable = 0x87;
  MPU_InitStruct.TypeExtField = MPU_TEX_LEVEL0;
  MPU_InitStruct.AccessPermission = MPU_REGION_NO_ACCESS;
  MPU_InitStruct.DisableExec = MPU_INSTRUCTION_ACCESS_DISABLE;
  MPU_InitStruct.IsShareable = MPU_ACCESS_SHAREABLE;
  MPU_InitStruct.IsCacheable = MPU_ACCESS_NOT_CACHEABLE;
  MPU_InitStruct.IsBufferable = MPU_ACCESS_NOT_BUFFERABLE;

  HAL_MPU_ConfigRegion(&MPU_InitStruct);
  /* Enables the MPU */
  HAL_MPU_Enable(MPU_PRIVILEGED_DEFAULT);

}

void Error_Handler(void)
{
  __disable_irq();
  while (1)
  {
  }
}
